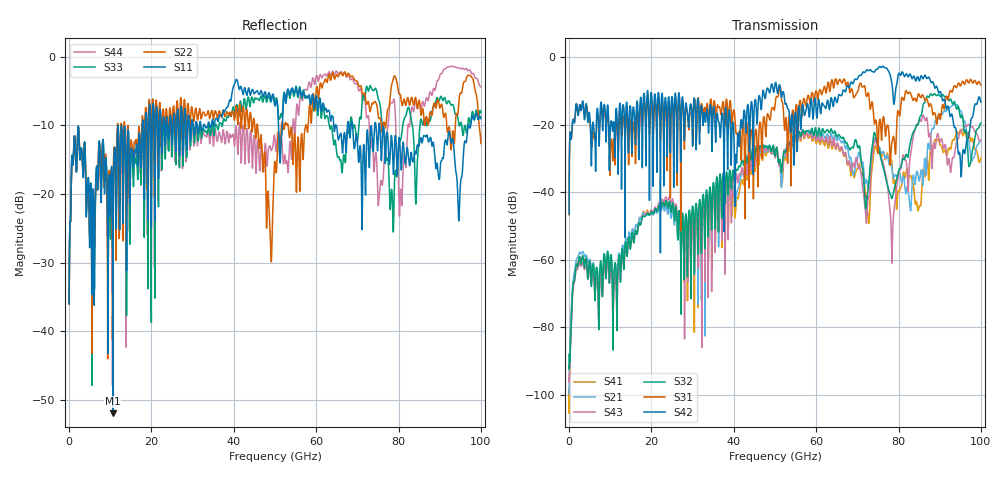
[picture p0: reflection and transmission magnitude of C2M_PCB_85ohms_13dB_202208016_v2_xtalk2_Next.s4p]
! Info: Touchstone file created by Circ.  Input file=Intel_C2M_200G_3p0in_202208016_staggered.circ
# Hz S RI R 50
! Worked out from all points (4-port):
!   10000 points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, 10 MHz to 100 GHz, reference 50 ohm
!   strongest paths, dB at 10 MHz, 25.01 GHz, 50.01 GHz, 75.01 GHz, 100 GHz:
!     S42: -46.5, -11.7, -8.0, -3.4, -13.3
!     S31: -46.7, -13.4, -14.2, -28.2, -8.3
!     S32: -91.4, -43.9, -29.3, -26.0, -19.5
!     S43: -95.0, -42.2, -29.7, -26.7, -24.7
!     S21: -100.0, -45.2, -29.3, -26.1, -24.7
!     S41: -98.4, -44.0, -29.6, -27.9, -29.9
!   lowest |S11| = -51.9 dB at 10.62 GHz (marker M1), VSWR 1.01, Z = 49.9 + j0.234 ohm
!   |S11| at or under -10 dB: start of sweep to 11.86 GHz; 68.82 GHz to 74.21 GHz (5.392 GHz wide, 7.54 % of centre); 75.44 GHz to 96.9 GHz (21.46 GHz wide, 24.9 % of centre)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
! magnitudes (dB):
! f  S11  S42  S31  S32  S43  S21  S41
! 10 MHz  -35.9  -46.5  -46.7  -91.4  -95.0  -100.0  -98.4
! 10.62 GHz  -51.9  -21.6  -30.7  -79.9  -77.1  -64.7  -67.2
! 56.21 GHz  -5.0  -20.8  -13.2  -23.3  -24.4  -23.4  -25.0
! 74.53 GHz  -10.1  -3.7  -18.7  -24.0  -25.2  -24.8  -26.8
! 78.43 GHz  -12.3  -8.2  -25.1  -41.9  -59.9  -33.3  -31.9
! 85.56 GHz  -12.1  -5.5  -11.6  -17.1  -19.0  -33.4  -41.2
! 100 GHz  -9.0  -13.3  -8.3  -19.5  -24.7  -24.7  -29.9
